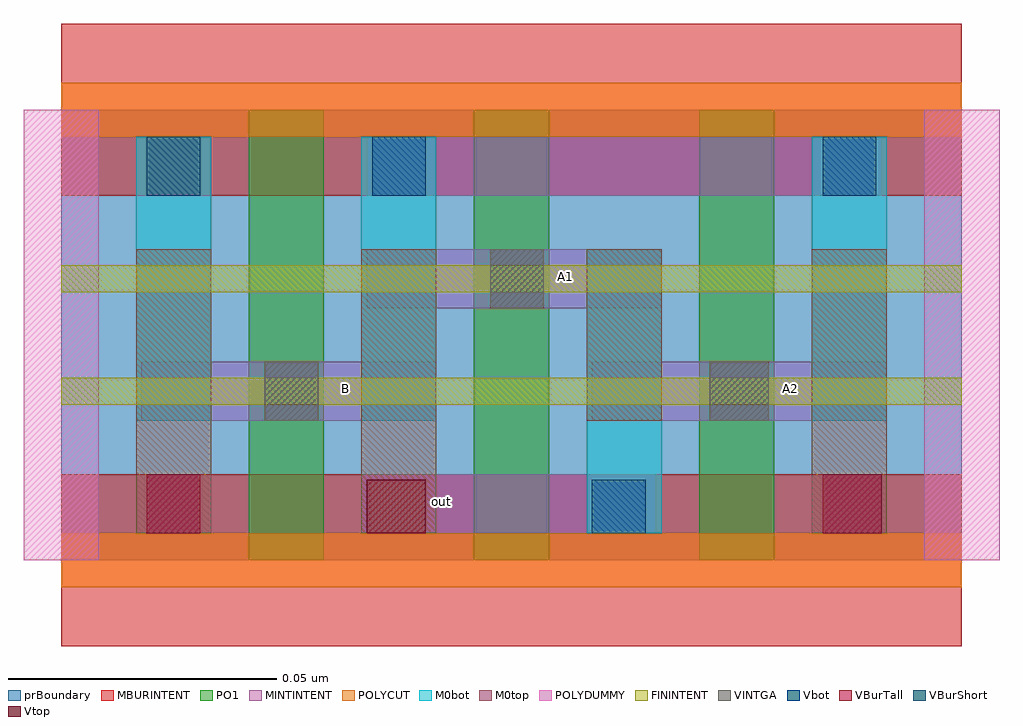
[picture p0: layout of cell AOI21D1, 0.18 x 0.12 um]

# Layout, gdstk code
import gdstk
lib = gdstk.Library(unit=1e-6, precision=1e-09)
def R(c, l, rs):  # rectangles x0, y0, x1, y1
    for r in rs: c.add(gdstk.rectangle(r[:2], r[2:], *l))
def A(c, l, x, y, w, h, nx, ny, dx, dy):  # array of equal rectangles
    R(c, l, [(x+i*dx, y+j*dy, x+i*dx+w, y+j*dy+h) for i in range(nx) for j in range(ny)])
MBURINTENT = (1, 0)
FININTENT = (2, 0)
PO1 = (10, 0)
POLYDUMMY = (11, 0)
POLYCUT = (12, 0)
M0bot = (20, 0)
M0top = (21, 0)
VBurShort = (30, 0)
VBurTall = (31, 0)
Vbot = (40, 0)
Vtop = (41, 0)
VINTGA = (42, 0)
MINTINTENT = (50, 0)
prBoundary = (100, 0)

aoi21d1 = lib.new_cell('AOI21D1')
R(aoi21d1, MBURINTENT, [(0,-0.016,0.168,0.016), (0,0.068,0.168,0.1)])
R(aoi21d1, FININTENT, [(0,0.029,0.168,0.034), (0,0.05,0.168,0.055)])
A(aoi21d1, PO1, 0.035, 0, 0.014, 0.084, 3, 1, 0.042, 0)
R(aoi21d1, POLYDUMMY, [(-0.007,0,0.007,0.084), (0.161,0,0.175,0.084)])
R(aoi21d1, POLYCUT, [(0,-0.005,0.168,0.005), (0,0.079,0.168,0.089)])
R(aoi21d1, M0bot, [(0.098,0.005,0.112,0.058), (0.014,0.026,0.028,0.079), (0.056,0.026,0.07,0.079), (0.14,0.026,0.154,0.079)])
R(aoi21d1, M0top, [(0.014,0.005,0.028,0.058), (0.056,0.005,0.07,0.058), (0.14,0.005,0.154,0.058), (0.098,0.026,0.112,0.058)])
R(aoi21d1, VBurShort, [(0.016,0.068,0.026,0.079)])
R(aoi21d1, VBurTall, [(0.016,0.005,0.026,0.016), (0.142,0.005,0.153,0.016)])
R(aoi21d1, Vbot, [(0.099,0.005,0.109,0.015), (0.058,0.068,0.068,0.079), (0.142,0.068,0.152,0.079)])
R(aoi21d1, Vtop, [(0.057,0.005,0.068,0.015)])
R(aoi21d1, VINTGA, [(0.038,0.026,0.048,0.037), (0.121,0.026,0.132,0.037), (0.08,0.047,0.09,0.058)])
R(aoi21d1, MINTINTENT, [(0.056,0.005,0.111,0.016), (0.015,0.026,0.07,0.037), (0.099,0.026,0.154,0.037), (0.057,0.047,0.112,0.058), (0.057,0.068,0.153,0.079)])
R(aoi21d1, prBoundary, [(0,0,0.168,0.084)])
aoi21d1.add(gdstk.Label('out', (0.071,0.011), layer=50, texttype=0))
aoi21d1.add(gdstk.Label('B', (0.053,0.032), layer=42, texttype=0))
aoi21d1.add(gdstk.Label('A2', (0.136,0.032), layer=42, texttype=0))
aoi21d1.add(gdstk.Label('A1', (0.094,0.053), layer=42, texttype=0))

lib.write_gds('AOI21D1.gds')
